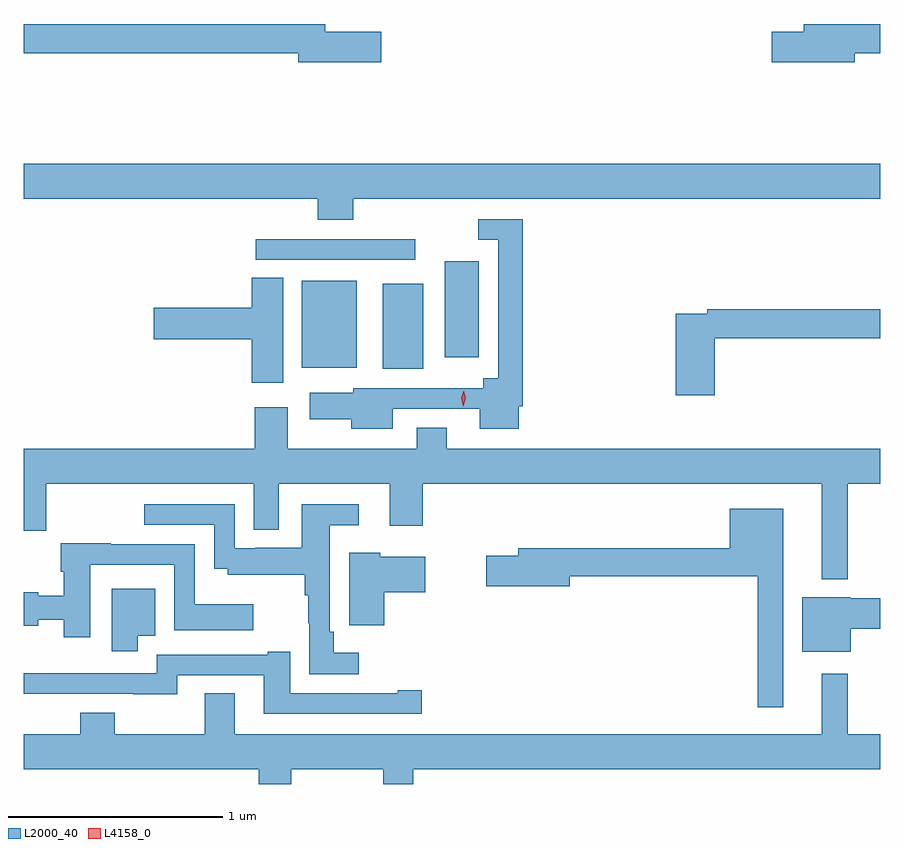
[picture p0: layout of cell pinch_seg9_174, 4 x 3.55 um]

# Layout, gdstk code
import gdstk
lib = gdstk.Library(unit=1e-6, precision=1e-09)
def R(c, l, rs):  # rectangles x0, y0, x1, y1
    for r in rs: c.add(gdstk.rectangle(r[:2], r[2:], *l))
def P(c, l, *ps):  # polygons
    for p in ps: c.add(gdstk.Polygon(p, *l))
L2000_40 = (2000, 40)
L4158_0 = (4158, 0)

pinch_seg9_174 = lib.new_cell('pinch_seg9_174')
R(pinch_seg9_174, L2000_40, [(797.552,1167.653,797.74,1168.051), (797.174,1167.659,797.431,1168.066), (797.84,1167.708,798.001,1168.156), (796.959,1168.164,797.704,1168.26)])
P(pinch_seg9_174, L2000_40, [(799.756,1169.128),(799.875,1169.128),(799.875,1169.264),(799.517,1169.264),(799.517,1169.228),(799.368,1169.228),(799.368,1169.086),(799.756,1169.086)],
  [(797.545,1169.228),(797.284,1169.228),(797.284,1169.264),(795.875,1169.264),(795.875,1169.128),(797.156,1169.128),(797.156,1169.086),(797.545,1169.086)],
  [(797.414,1168.448),(799.875,1168.448),(799.875,1168.612),(795.875,1168.612),(795.875,1168.448),(797.249,1168.448),(797.249,1168.349),(797.414,1168.349)],
  [(797.599,1167.468),(798.005,1167.468),(798.005,1167.374),(798.187,1167.374),(798.187,1167.478),(798.206,1167.478),(798.206,1168.353),(797.997,1168.353),(797.997,1168.257),(798.09,1168.257),(798.09,1167.61),(798.02,1167.61),(798.02,1167.564),(797.415,1167.564),(797.415,1167.541),(797.211,1167.541),(797.211,1167.419),(797.404,1167.419),(797.404,1167.374),(797.599,1167.374)],
  [(797.086,1168.079),(796.94,1168.079),(796.94,1167.938),(796.482,1167.938),(796.482,1167.791),(796.94,1167.791),(796.94,1167.588),(797.086,1167.588)],
  [(799.103,1167.796),(799.875,1167.796),(799.875,1167.932),(799.066,1167.932),(799.066,1167.912),(798.92,1167.912),(798.92,1167.531),(799.103,1167.531)],
  [(799.723,1167.116),(799.875,1167.116),(799.875,1167.28),(797.851,1167.28),(797.851,1167.379),(797.711,1167.379),(797.711,1167.28),(797.107,1167.28),(797.107,1167.475),(796.955,1167.475),(796.955,1167.28),(795.875,1167.28),(795.875,1166.898),(795.981,1166.898),(795.981,1167.116),(796.949,1167.116),(796.949,1166.903),(797.065,1166.903),(797.065,1167.116),(797.585,1167.116),(797.585,1166.922),(797.738,1166.922),(797.738,1167.116),(799.601,1167.116),(799.601,1166.672),(799.723,1166.672)],
  [(797.44,1166.329),(797.322,1166.329),(797.322,1166.425),(797.304,1166.425),(797.304,1166.924),(797.44,1166.924),(797.44,1167.021),(797.174,1167.021),(797.174,1166.818),(796.957,1166.818),(796.957,1166.817),(796.86,1166.817),(796.86,1167.021),(796.437,1167.021),(796.437,1166.925),(796.764,1166.925),(796.764,1166.721),(796.827,1166.721),(796.827,1166.693),(797.188,1166.693),(797.188,1166.597),(797.203,1166.597),(797.203,1166.465),(797.208,1166.465),(797.208,1166.228),(797.44,1166.228)],
  [(799.423,1167.001),(799.172,1167.001),(799.172,1166.815),(798.185,1166.815),(798.185,1166.781),(798.036,1166.781),(798.036,1166.639),(798.424,1166.639),(798.424,1166.686),(799.302,1166.686),(799.302,1166.073),(799.423,1166.073)],
  [(796.186,1166.739),(796.578,1166.739),(796.578,1166.432),(796.948,1166.432),(796.948,1166.554),(796.674,1166.554),(796.674,1166.835),(796.282,1166.835),(796.282,1166.84),(796.049,1166.84),(796.049,1166.707),(796.061,1166.707),(796.061,1166.593),(795.943,1166.593),(795.943,1166.611),(795.875,1166.611),(795.875,1166.453),(795.943,1166.453),(795.943,1166.482),(796.061,1166.482),(796.061,1166.4),(796.186,1166.4)],
  [(797.558,1166.611),(797.749,1166.611),(797.749,1166.776),(797.541,1166.776),(797.541,1166.794),(797.396,1166.794),(797.396,1166.457),(797.558,1166.457)],
  [(796.408,1166.408),(796.489,1166.408),(796.489,1166.626),(796.286,1166.626),(796.286,1166.334),(796.408,1166.334)],
  [(799.738,1166.44),(799.875,1166.44),(799.875,1166.582),(799.734,1166.582),(799.734,1166.587),(799.511,1166.587),(799.511,1166.333),(799.738,1166.333)],
  [(797.734,1166.152),(797.621,1166.152),(797.621,1166.139),(797.119,1166.139),(797.119,1166.332),(797.015,1166.332),(797.015,1166.319),(796.497,1166.319),(796.497,1166.232),(796.19,1166.232),(796.19,1166.233),(795.875,1166.233),(795.875,1166.136),(796.387,1166.136),(796.387,1166.135),(796.593,1166.135),(796.593,1166.223),(796.997,1166.223),(796.997,1166.043),(797.734,1166.043)],
  [(797.125,1165.784),(797.555,1165.784),(797.555,1165.715),(797.695,1165.715),(797.695,1165.784),(799.875,1165.784),(799.875,1165.948),(799.723,1165.948),(799.723,1166.23),(799.601,1166.23),(799.601,1165.948),(796.861,1165.948),(796.861,1166.138),(796.721,1166.138),(796.721,1165.948),(796.299,1165.948),(796.299,1166.047),(796.139,1166.047),(796.139,1165.948),(795.875,1165.948),(795.875,1165.784),(796.973,1165.784),(796.973,1165.715),(797.125,1165.715)])
P(pinch_seg9_174, L4158_0, [(797.927,1167.48),(797.927,1167.48),(797.919,1167.517),(797.93,1167.552),(797.93,1167.552),(797.93,1167.552),(797.939,1167.516),(797.928,1167.48)])

lib.write_gds('pinch_seg9_174.gds')
